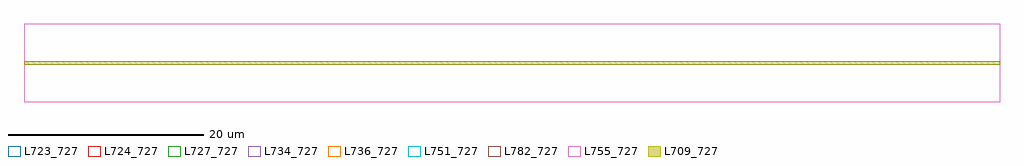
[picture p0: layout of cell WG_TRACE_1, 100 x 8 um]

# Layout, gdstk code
import gdstk
lib = gdstk.Library(unit=1e-6, precision=1e-09)
def R(c, l, rs):  # rectangles x0, y0, x1, y1
    for r in rs: c.add(gdstk.rectangle(r[:2], r[2:], *l))
def P(c, l, *ps):  # polygons
    for p in ps: c.add(gdstk.Polygon(p, *l))
L709_727 = (709, 727)
L723_727 = (723, 727)
L724_727 = (724, 727)
L727_727 = (727, 727)
L734_727 = (734, 727)
L736_727 = (736, 727)
L751_727 = (751, 727)
L755_727 = (755, 727)
L782_727 = (782, 727)

wg_trace_1 = lib.new_cell('WG_TRACE_1')
R(wg_trace_1, L709_727, [(0,-0.2,100,0.2)])
P(wg_trace_1, L723_727, [(0,-4),(100,-4),(100,-0.2),(100,0.2),(100,4),(0,4),(0,0.2),(0,-0.2)])
P(wg_trace_1, L724_727, [(0,-4),(100,-4),(100,-0.2),(100,0.2),(100,4),(0,4),(0,0.2),(0,-0.2)])
P(wg_trace_1, L727_727, [(0,-4),(100,-4),(100,-0.2),(100,0.2),(100,4),(0,4),(0,0.2),(0,-0.2)])
P(wg_trace_1, L734_727, [(0,-4),(100,-4),(100,-0.2),(100,0.2),(100,4),(0,4),(0,0.2),(0,-0.2)])
P(wg_trace_1, L736_727, [(0,-4),(100,-4),(100,-0.2),(100,0.2),(100,4),(0,4),(0,0.2),(0,-0.2)])
P(wg_trace_1, L751_727, [(0,-4),(100,-4),(100,-0.2),(100,0.2),(100,4),(0,4),(0,0.2),(0,-0.2)])
P(wg_trace_1, L755_727, [(0,-4),(100,-4),(100,-0.2),(100,0.2),(100,4),(0,4),(0,0.2),(0,-0.2)])
P(wg_trace_1, L782_727, [(0,-4),(100,-4),(100,-0.2),(100,0.2),(100,4),(0,4),(0,0.2),(0,-0.2)])

lib.write_gds('WG_TRACE_1.gds')
